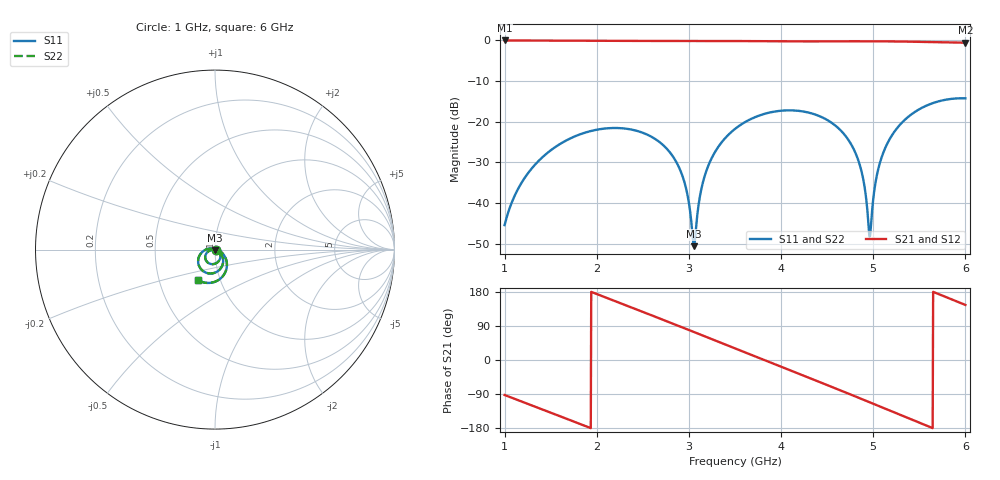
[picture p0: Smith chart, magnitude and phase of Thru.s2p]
! Created Fri Aug  9 09:20:55 2024
! List of port names and net name(s): example Port n = <port_name> <net_name1> <net_name2> ...
! Port 1 = P1 P2
! Port 2 = P2 P2
# hz S ri R 50
! 2 Port Network Data from data block
! freq  reS11  imS11  reS21  imS21  reS12  imS12  reS22  imS22
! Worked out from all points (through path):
!   1001 points, 1 GHz to 6 GHz, reference 50 ohm
!   highest |S21| = -0.03 dB at 1 GHz (marker M1); lowest = -0.6 dB at 6 GHz (marker M2)
!   group delay of S21, straight-line fit = 268 ps
!   lowest |S11| = -50.6 dB at 3.055 GHz (marker M3), VSWR 1.01, Z = 49.9 - j0.29 ohm
!   |S11| at or under -10 dB: start of sweep to end of sweep
!   |S22| runs from -50.6 to -14.2 dB; largest |S21 - S12| = 0
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1e9  0.0052 -0.00128  -0.0405 -0.9957  -0.0405 -0.9957  0.0052 -0.00128
1.135e9  0.0135 -0.00418  -0.2558 -0.9624  -0.2558 -0.9624  0.0135 -0.00418
1.31e9  0.024 -0.0142  -0.5151 -0.8507  -0.5151 -0.8507  0.024 -0.0142
1.835e9  0.0158 -0.0692  -0.9746 -0.1655  -0.9746 -0.1655  0.0158 -0.0692
2.23e9  -0.0328 -0.0769  -0.8729 0.4547  -0.8729 0.4547  -0.0328 -0.0769
2.67e9  -0.051 -0.0264  -0.3489 0.9193  -0.3489 0.9193  -0.051 -0.0264
2.92e9  -0.0229 -0.00337  0.0544 0.9824  0.0544 0.9824  -0.0229 -0.00337
2.98e9  -0.0132 -0.0019  0.153 0.972  0.153 0.972  -0.0132 -0.0019
3.055e9  -0.000537 -0.0029  0.2743 0.945  0.2743 0.945  -0.000536 -0.0029
3.13e9  0.012 -0.00721  0.3914 0.9027  0.3914 0.9027  0.012 -0.00721
3.205e9  0.0236 -0.0147  0.5023 0.8457  0.5023 0.8457  0.0236 -0.0147
3.5e9  0.0454 -0.0677  0.8435 0.4998  0.8435 0.4998  0.0454 -0.0677
3.905e9  -0.00938 -0.1314  0.9623 -0.1454  0.9623 -0.1454  -0.00938 -0.1314
4.335e9  -0.0897 -0.0887  0.6221 -0.7441  0.6221 -0.7441  -0.0897 -0.0887
4.595e9  -0.0838 -0.0286  0.2452 -0.9401  0.2452 -0.9401  -0.0838 -0.0286
4.775e9  -0.0492 0.000636  -0.052 -0.9718  -0.052 -0.9718  -0.0492 0.000636
4.88e9  -0.0217 0.0064  -0.2265 -0.9469  -0.2265 -0.9469  -0.0217 0.0064
4.96e9  0.000391 0.00388  -0.3552 -0.9064  -0.3552 -0.9064  0.000391 0.00388
5.05e9  0.0241 -0.00632  -0.4919 -0.8394  -0.4919 -0.8394  0.0241 -0.00632
5.17e9  0.0499 -0.031  -0.6542 -0.7173  -0.6542 -0.7173  0.0499 -0.031
5.58e9  0.039 -0.1532  -0.948 -0.1119  -0.948 -0.1119  0.039 -0.1532
6e9  -0.0945 -0.1691  -0.7694 0.532  -0.7694 0.532  -0.0945 -0.1691
